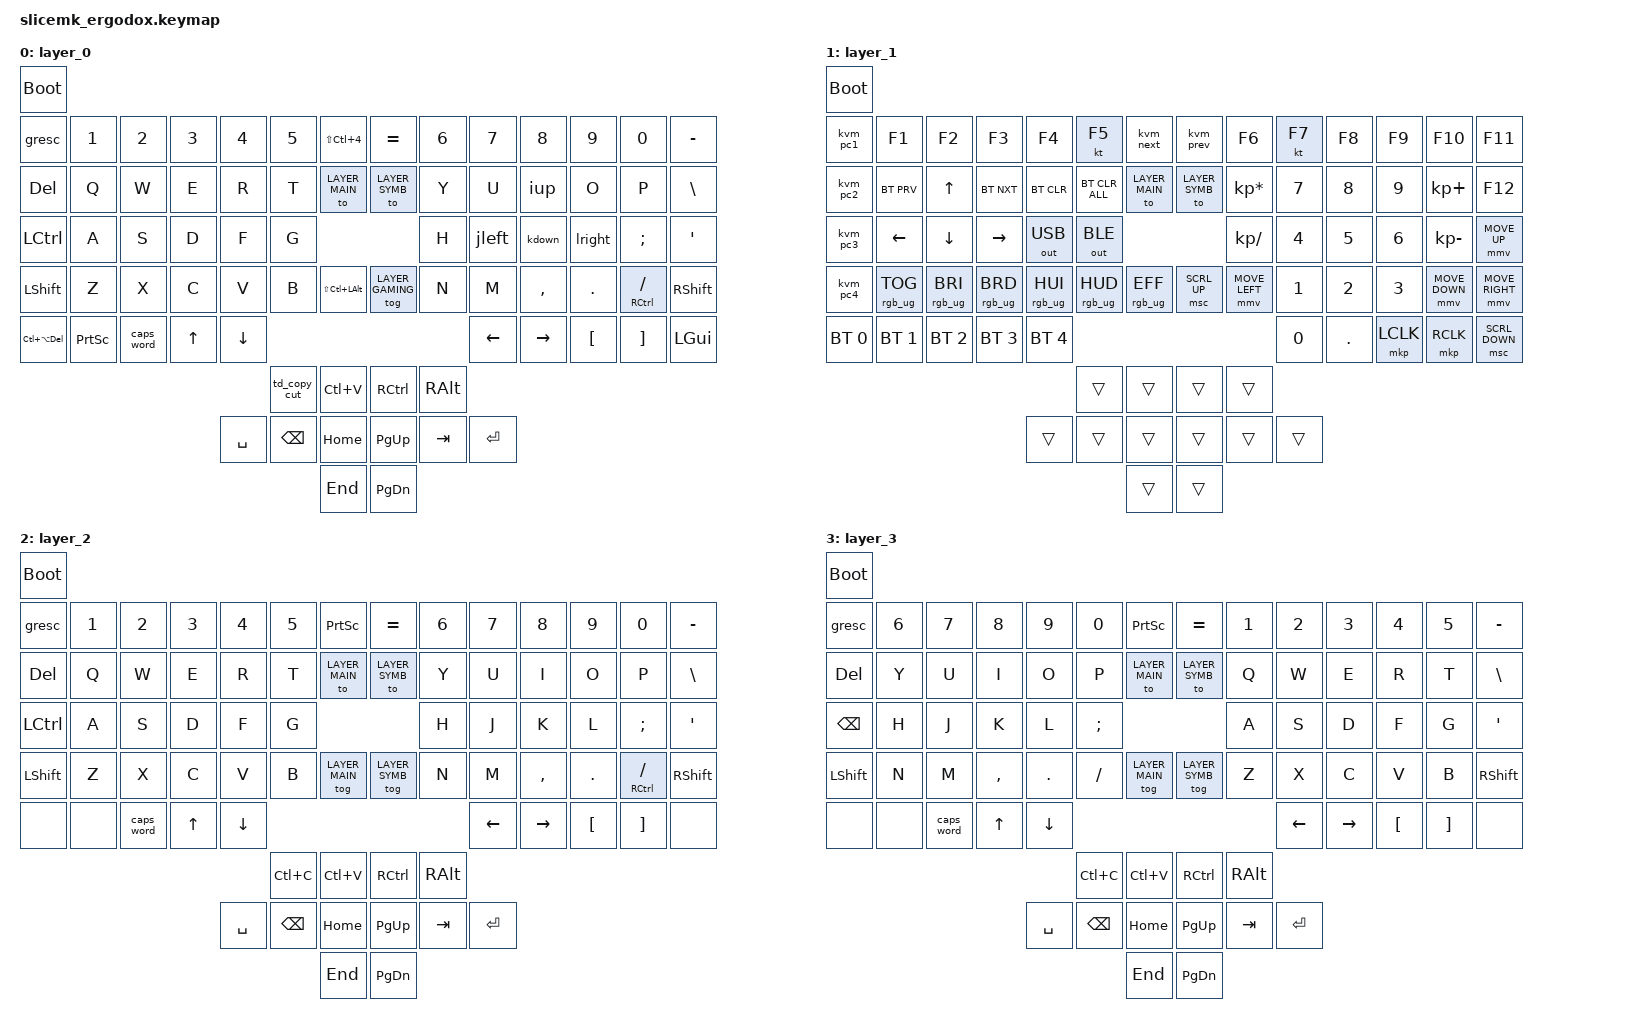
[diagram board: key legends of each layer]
#define LAYER_MAIN 0
#define LAYER_SYMB 1
#define LAYER_GAMING 2
#define LAYER_MIRROR 3

#include <behaviors.dtsi>
#include <dt-bindings/zmk/bt.h>
#include <dt-bindings/zmk/keys.h>
#include <dt-bindings/zmk/outputs.h>
#include <dt-bindings/zmk/pointing.h>
#include <dt-bindings/zmk/rgb.h>

/ {
    behaviors {
        // "i" normally, but when command is held, turns into up arrow.
        iup: i_up {
            compatible = "zmk,behavior-mod-morph";
            label = "I_UP";
            #binding-cells = <0>;
            bindings = <&kp I>, <&kp UP>;
            mods = <(MOD_LCTL)>;
        };
         // "j" normally, but when command is held, turns into left arrow. when command is held and double tap j, then home
        jleft: j_left {
            compatible = "zmk,behavior-mod-morph";
            label = "J_LEFT";
            #binding-cells = <0>;
            bindings = <&kp J>, <&kp LEFT>;
            mods = <(MOD_LCTL)>;
        };
         // "k" normally, but when command is held, turns into down arrow. 
        kdown: k_down {
            compatible = "zmk,behavior-mod-morph";
            label = "K_DOWN";
            #binding-cells = <0>;
            bindings = <&kp K>, <&kp DOWN>;
            mods = <(MOD_LCTL)>;
        };
         // "l" normally, but when command is held, turns into right arrow. when command is held and double tap l, then end
        lright: l_right {
            compatible = "zmk,behavior-mod-morph";
            label = "L_RIGHT";
            #binding-cells = <0>;
            bindings = <&kp L>, <&kp RIGHT>;
            mods = <(MOD_LCTL)>;
        };
        // grave normally, but when mod, turns into esc.
        gresc: grave_escape {
            compatible = "zmk,behavior-mod-morph";
            label = "GRAVE_ESCAPE";
            #binding-cells = <0>;
            bindings = <&kp GRAVE>, <&kp ESC>;
            mods = <(MOD_LCTL|MOD_RCTL|MOD_RALT)>;
        };

        td_copy_cut: tap_dance_copy_cut {
            compatible = "zmk,behavior-tap-dance";
            label = "TAP_DANCE_COPY_CUT";
            #binding-cells = <0>;
            tapping-term-ms = <200>;
            bindings = <&kp LC(C)>, <&kp LC(X)>;
        };

        gqt: global-quick-tap {
            compatible = "zmk,behavior-hold-tap";
            label = "GLOBAL_QUICK_TAP";
            #binding-cells = <2>;
            flavor = "tap-preferred";
            tapping-term-ms = <200>;
            quick-tap-ms = <75>;
            global-quick-tap;
            bindings = <&kp>, <&kp>;
        };
        
        td_a: tap_dance_a {
            compatible = "zmk,behavior-tap-dance";
            label = "TAP_DANCE_A";
            #binding-cells = <0>;
            tapping-term-ms = <200>;
            bindings = <&kp A>, <&kp LC(A)>;
        };

        td_s: tap_dance_s {
            compatible = "zmk,behavior-tap-dance";
            label = "TAP_DANCE_S";
            #binding-cells = <0>;
            tapping-term-ms = <200>;
            bindings = <&kp S>, <&kp LC(S)>;
        };

        //mod tap nested inside tap dance
        //This example configures a mod-tap inside a tap-dance named td_mt that outputs z on a single tap, LCTRL on a single press and hold, and LCTRL and z when the tap-dance is pressed twice.
        td_mt_z: tap_dance_mod_tap_z {
            compatible = "zmk,behavior-tap-dance";
            label = "TAP_DANCE_MOD_TAP_Z";
            #binding-cells = <0>;
            tapping-term-ms = <200>;
            bindings = <&mt LCTRL Z>, <&kp LC(Z)>;
        };


        // KVM macros for Monoprice Blackbird 4x1 (42646): each sends ScrollLock ScrollLock + key within 5s.
        // Blue keys: direct PC1-4. Top gap: cycle next/prev.
        ZMK_MACRO(kvm_pc1,
            wait-ms = <50>;
            tap-ms = <50>;
            bindings = <&kp SCROLLLOCK>, <&kp SCROLLLOCK>, <&kp NUMBER_1>;
        )
        ZMK_MACRO(kvm_pc2,
            wait-ms = <50>;
            tap-ms = <50>;
            bindings = <&kp SCROLLLOCK>, <&kp SCROLLLOCK>, <&kp NUMBER_2>;
        )
        ZMK_MACRO(kvm_pc3,
            wait-ms = <50>;
            tap-ms = <50>;
            bindings = <&kp SCROLLLOCK>, <&kp SCROLLLOCK>, <&kp NUMBER_3>;
        )
        ZMK_MACRO(kvm_pc4,
            wait-ms = <50>;
            tap-ms = <50>;
            bindings = <&kp SCROLLLOCK>, <&kp SCROLLLOCK>, <&kp NUMBER_4>;
        )
        ZMK_MACRO(kvm_next,
            wait-ms = <50>;
            tap-ms = <50>;
            bindings = <&kp SCROLLLOCK>, <&kp SCROLLLOCK>, <&kp RIGHT_ARROW>;
        )
        ZMK_MACRO(kvm_prev,
            wait-ms = <50>;
            tap-ms = <50>;
            bindings = <&kp SCROLLLOCK>, <&kp SCROLLLOCK>, <&kp LEFT_ARROW>;
        )
    };
};

/ {
	keymap {
		compatible = "zmk,keymap";
		layer_0 {
			bindings = <
				&bootloader
				&gresc             &kp NUMBER_1    &kp NUMBER_2 &kp NUMBER_3 &kp NUMBER_4   &kp NUMBER_5  &kp LS(LC(NUMBER_4)) &kp EQUAL         &kp NUMBER_6  &kp NUMBER_7   &kp NUMBER_8    &kp NUMBER_9     &kp NUMBER_0            &kp MINUS
				&kp DELETE         &kp Q           &kp W        &kp E        &kp R          &kp T         &to LAYER_MAIN       &to LAYER_SYMB    &kp Y         &kp U          &iup            &kp O            &kp P                   &kp BACKSLASH
				&kp LEFT_CONTROL   &kp A           &kp S        &kp D        &kp F          &kp G                                                &kp H         &jleft         &kdown          &lright          &kp SEMICOLON           &kp SINGLE_QUOTE
				&kp LEFT_SHIFT     &kp Z           &kp X        &kp C        &kp V          &kp B         &kp LS(LC(LEFT_ALT)) &tog LAYER_GAMING &kp N         &kp M          &kp COMMA       &kp PERIOD       &mt RIGHT_CONTROL SLASH &kp RIGHT_SHIFT
				&kp LC(LA(DELETE)) &kp PRINTSCREEN &caps_word   &kp UP_ARROW &kp DOWN_ARROW                                                                    &kp LEFT_ARROW &kp RIGHT_ARROW &kp LEFT_BRACKET &kp RIGHT_BRACKET       &kp LEFT_GUI
				                                                                            &td_copy_cut  &kp LC(V)            &kp RIGHT_CONTROL &kp RIGHT_ALT
				                                                             &kp SPACE      &kp BACKSPACE &kp HOME             &kp PAGE_UP       &kp TAB       &kp RETURN
				                                                                                          &kp END              &kp PAGE_DOWN
			>;
		};
		layer_1 {
			bindings = <
			&bootloader
			&kvm_pc1 &kp F1 &kp F2 &kp F3 &kp F4 &kt F5 &kvm_next &kvm_prev &kp F6 &kt F7 &kp F8 &kp F9 &kp F10 &kp F11
			&kvm_pc2 &bt BT_PRV &kp UP_ARROW &bt BT_NXT &bt BT_CLR &bt BT_CLR_ALL &to LAYER_MAIN &to LAYER_SYMB &kp KP_MULTIPLY &kp NUMBER_7 &kp NUMBER_8 &kp NUMBER_9 &kp KP_PLUS &kp F12
			&kvm_pc3 &kp LEFT_ARROW &kp DOWN_ARROW &kp RIGHT_ARROW &out OUT_USB &out OUT_BLE &kp KP_DIVIDE &kp NUMBER_4 &kp NUMBER_5 &kp NUMBER_6 &kp KP_MINUS &mmv MOVE_UP
			&kvm_pc4 &rgb_ug RGB_TOG &rgb_ug RGB_BRI &rgb_ug RGB_BRD &rgb_ug RGB_HUI &rgb_ug RGB_HUD &rgb_ug RGB_EFF &msc SCRL_UP &mmv MOVE_LEFT &kp NUMBER_1 &kp NUMBER_2 &kp NUMBER_3 &mmv MOVE_DOWN &mmv MOVE_RIGHT
			&bt BT_SEL 0 &bt BT_SEL 1 &bt BT_SEL 2 &bt BT_SEL 3 &bt BT_SEL 4 &kp NUMBER_0 &kp PERIOD &mkp LCLK &mkp RCLK &msc SCRL_DOWN
			&trans &trans &trans &trans
			&trans &trans &trans &trans &trans &trans
			&trans &trans
		>;
		};
		layer_2 {
			bindings = <
				&bootloader
				&gresc           &kp NUMBER_1 &kp NUMBER_2 &kp NUMBER_3 &kp NUMBER_4   &kp NUMBER_5  &kp PRINTSCREEN &kp EQUAL         &kp NUMBER_6  &kp NUMBER_7   &kp NUMBER_8    &kp NUMBER_9     &kp NUMBER_0            &kp MINUS
				&kp DELETE       &kp Q        &kp W        &kp E        &kp R          &kp T         &to LAYER_MAIN  &to LAYER_SYMB    &kp Y         &kp U          &kp I           &kp O            &kp P                   &kp BACKSLASH
				&kp LEFT_CONTROL &kp A        &kp S        &kp D        &kp F          &kp G                                           &kp H         &kp J          &kp K           &kp L            &kp SEMICOLON           &kp SINGLE_QUOTE
				&kp LEFT_SHIFT   &kp Z        &kp X        &kp C        &kp V          &kp B         &tog LAYER_MAIN &tog LAYER_SYMB   &kp N         &kp M          &kp COMMA       &kp PERIOD       &mt RIGHT_CONTROL SLASH &kp RIGHT_SHIFT
				&none            &none        &caps_word   &kp UP_ARROW &kp DOWN_ARROW                                                               &kp LEFT_ARROW &kp RIGHT_ARROW &kp LEFT_BRACKET &kp RIGHT_BRACKET       &none
				                                                                       &kp LC(C)     &kp LC(V)       &kp RIGHT_CONTROL &kp RIGHT_ALT
				                                                        &kp SPACE      &kp BACKSPACE &kp HOME        &kp PAGE_UP       &kp TAB       &kp RETURN
				                                                                                     &kp END         &kp PAGE_DOWN
			>;
		};
		layer_3 {
			bindings = <
				&bootloader
				&gresc         &kp NUMBER_6 &kp NUMBER_7 &kp NUMBER_8 &kp NUMBER_9   &kp NUMBER_0  &kp PRINTSCREEN &kp EQUAL         &kp NUMBER_1  &kp NUMBER_2   &kp NUMBER_3    &kp NUMBER_4     &kp NUMBER_5      &kp MINUS
				&kp DELETE     &kp Y        &kp U        &kp I        &kp O          &kp P         &to LAYER_MAIN  &to LAYER_SYMB    &kp Q         &kp W          &kp E           &kp R            &kp T             &kp BACKSLASH
				&kp BACKSPACE  &kp H        &kp J        &kp K        &kp L          &kp SEMICOLON                                   &kp A         &kp S          &kp D           &kp F            &kp G             &kp SINGLE_QUOTE
				&kp LEFT_SHIFT &kp N        &kp M        &kp COMMA    &kp PERIOD     &kp SLASH     &tog LAYER_MAIN &tog LAYER_SYMB   &kp Z         &kp X          &kp C           &kp V            &kp B             &kp RIGHT_SHIFT
				&none          &none        &caps_word   &kp UP_ARROW &kp DOWN_ARROW                                                               &kp LEFT_ARROW &kp RIGHT_ARROW &kp LEFT_BRACKET &kp RIGHT_BRACKET &none
				                                                                     &kp LC(C)     &kp LC(V)       &kp RIGHT_CONTROL &kp RIGHT_ALT
				                                                      &kp SPACE      &kp BACKSPACE &kp HOME        &kp PAGE_UP       &kp TAB       &kp RETURN
				                                                                                   &kp END         &kp PAGE_DOWN
			>;
		};
	};
};
